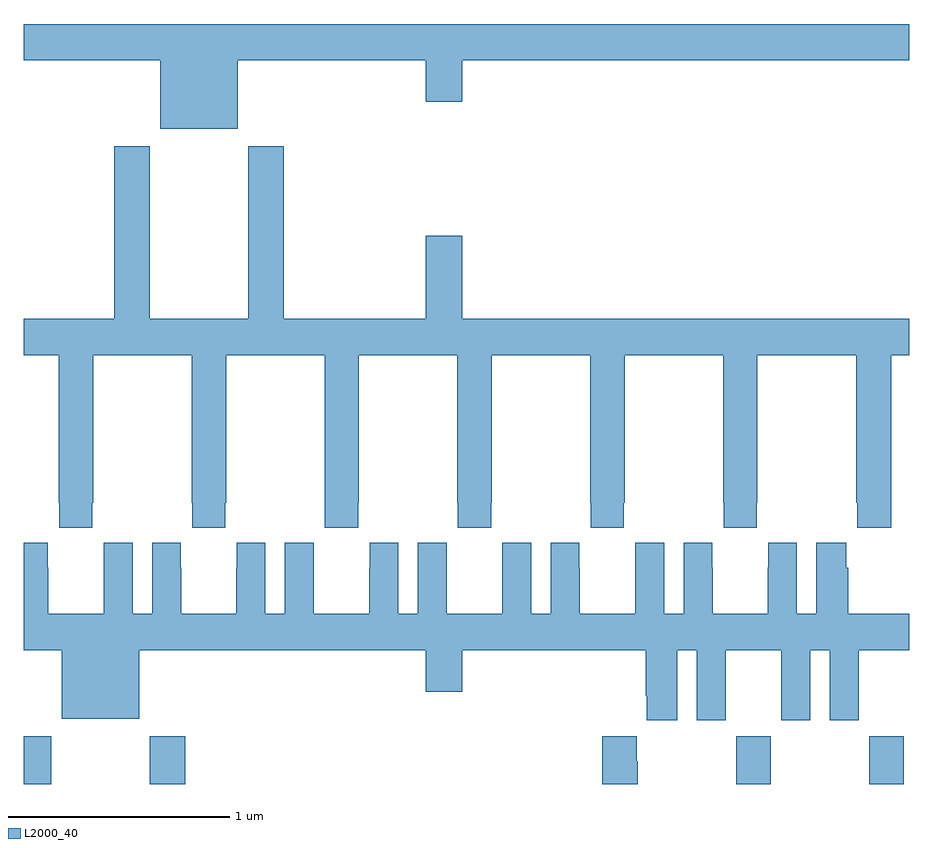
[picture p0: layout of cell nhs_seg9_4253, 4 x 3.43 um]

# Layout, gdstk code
import gdstk
lib = gdstk.Library(unit=1e-6, precision=1e-09)
def R(c, l, rs):  # rectangles x0, y0, x1, y1
    for r in rs: c.add(gdstk.rectangle(r[:2], r[2:], *l))
def P(c, l, *ps):  # polygons
    for p in ps: c.add(gdstk.Polygon(p, *l))
L2000_40 = (2000, 40)

nhs_seg9_4253 = lib.new_cell('nhs_seg9_4253')
R(nhs_seg9_4253, L2000_40, [(355,1178.5,355.125,1178.716), (355.57,1178.5,355.73,1178.716), (358.219,1178.5,358.374,1178.716), (358.819,1178.5,358.974,1178.716)])
P(nhs_seg9_4253, L2000_40, [(355.966,1181.768),(356.816,1181.768),(356.816,1181.58),(356.98,1181.58),(356.98,1181.768),(359,1181.768),(359,1181.932),(355,1181.932),(355,1181.768),(355.616,1181.768),(355.616,1181.459),(355.966,1181.459)],
  [(355.311,1179.769),(355.314,1179.769),(355.314,1180.436),(355.759,1180.436),(355.759,1179.769),(355.761,1179.769),(355.761,1179.657),(355.911,1179.657),(355.911,1179.769),(355.914,1179.769),(355.914,1180.436),(356.359,1180.436),(356.359,1179.769),(356.361,1179.769),(356.361,1179.657),(356.511,1179.657),(356.511,1179.769),(356.514,1179.769),(356.514,1180.436),(356.959,1180.436),(356.959,1179.769),(356.961,1179.769),(356.961,1179.657),(357.111,1179.657),(357.111,1179.769),(357.114,1179.769),(357.114,1180.436),(357.559,1180.436),(357.559,1179.769),(357.561,1179.769),(357.561,1179.657),(357.711,1179.657),(357.711,1179.769),(357.714,1179.769),(357.714,1180.436),(358.159,1180.436),(358.159,1179.769),(358.161,1179.769),(358.161,1179.657),(358.311,1179.657),(358.311,1179.769),(358.314,1179.769),(358.314,1180.436),(358.759,1180.436),(358.759,1179.769),(358.765,1179.769),(358.765,1179.657),(358.919,1179.657),(358.919,1180.436),(359,1180.436),(359,1180.6),(356.98,1180.6),(356.98,1180.975),(356.816,1180.975),(356.816,1180.6),(356.174,1180.6),(356.174,1181.38),(356.014,1181.38),(356.014,1180.6),(355.569,1180.6),(355.569,1181.38),(355.409,1181.38),(355.409,1180.6),(355,1180.6),(355,1180.436),(355.159,1180.436),(355.159,1179.769),(355.161,1179.769),(355.161,1179.657),(355.311,1179.657)],
  [(358.492,1179.589),(358.362,1179.589),(358.362,1179.476),(358.361,1179.476),(358.361,1179.268),(358.111,1179.268),(358.111,1179.476),(358.11,1179.476),(358.11,1179.589),(357.98,1179.589),(357.98,1179.268),(357.892,1179.268),(357.892,1179.589),(357.762,1179.589),(357.762,1179.476),(357.761,1179.476),(357.761,1179.268),(357.511,1179.268),(357.511,1179.476),(357.51,1179.476),(357.51,1179.589),(357.38,1179.589),(357.38,1179.268),(357.292,1179.268),(357.292,1179.589),(357.162,1179.589),(357.162,1179.476),(357.161,1179.476),(357.161,1179.268),(356.911,1179.268),(356.911,1179.476),(356.91,1179.476),(356.91,1179.589),(356.78,1179.589),(356.78,1179.268),(356.692,1179.268),(356.692,1179.589),(356.562,1179.589),(356.562,1179.476),(356.561,1179.476),(356.561,1179.268),(356.311,1179.268),(356.311,1179.476),(356.31,1179.476),(356.31,1179.589),(356.18,1179.589),(356.18,1179.268),(356.092,1179.268),(356.092,1179.589),(355.962,1179.589),(355.962,1179.476),(355.961,1179.476),(355.961,1179.268),(355.711,1179.268),(355.711,1179.476),(355.71,1179.476),(355.71,1179.589),(355.58,1179.589),(355.58,1179.268),(355.492,1179.268),(355.492,1179.589),(355.362,1179.589),(355.362,1179.476),(355.361,1179.476),(355.361,1179.268),(355.111,1179.268),(355.111,1179.476),(355.11,1179.476),(355.11,1179.589),(355,1179.589),(355,1179.104),(355.172,1179.104),(355.172,1178.795),(355.522,1178.795),(355.522,1179.104),(356.816,1179.104),(356.816,1178.916),(356.98,1178.916),(356.98,1179.104),(357.809,1179.104),(357.809,1178.899),(357.815,1178.899),(357.815,1178.787),(357.952,1178.787),(357.952,1179.104),(358.04,1179.104),(358.04,1178.787),(358.171,1178.787),(358.171,1179.104),(358.421,1179.104),(358.421,1178.787),(358.552,1178.787),(358.552,1179.104),(358.64,1179.104),(358.64,1178.787),(358.771,1178.787),(358.771,1179.104),(359,1179.104),(359,1179.268),(358.724,1179.268),(358.724,1179.476),(358.714,1179.476),(358.714,1179.589),(358.58,1179.589),(358.58,1179.268),(358.492,1179.268)],
  [(357.774,1178.603),(357.769,1178.603),(357.769,1178.716),(357.614,1178.716),(357.614,1178.5),(357.774,1178.5)])

lib.write_gds('nhs_seg9_4253.gds')
